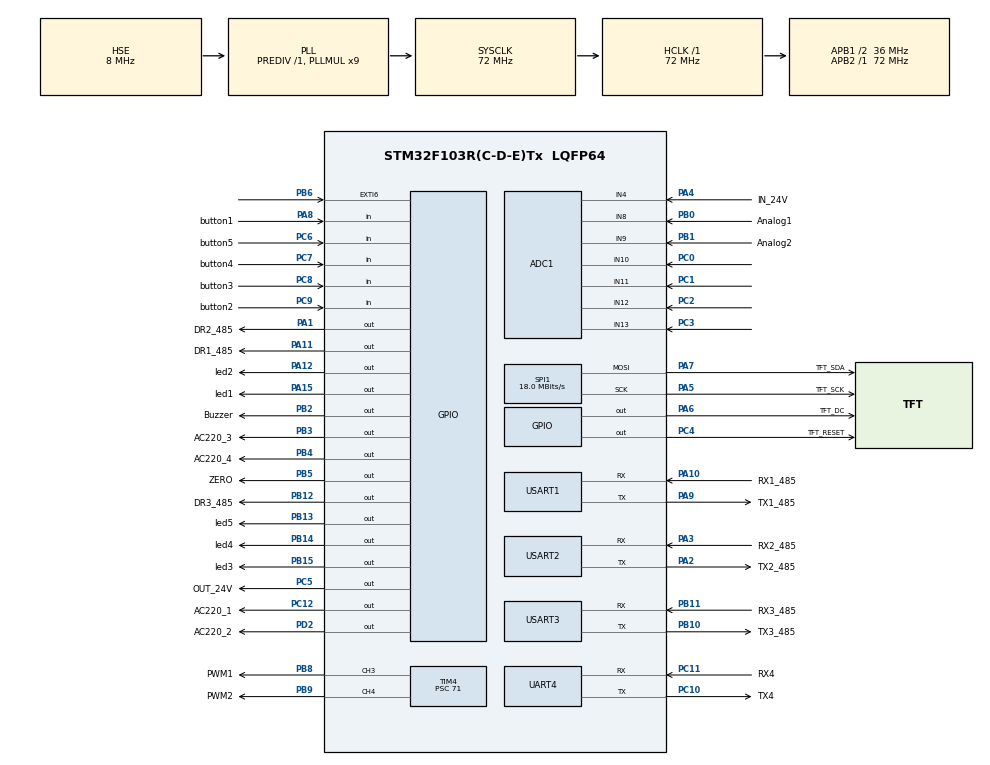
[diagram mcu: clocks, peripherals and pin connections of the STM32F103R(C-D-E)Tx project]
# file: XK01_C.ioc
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ADC1.Channel-0\#ChannelRegularConversion=ADC_CHANNEL_9
ADC1.Channel-1\#ChannelRegularConversion=ADC_CHANNEL_4
ADC1.Channel-2\#ChannelRegularConversion=ADC_CHANNEL_4
ADC1.Channel-3\#ChannelRegularConversion=ADC_CHANNEL_4
ADC1.Channel-4\#ChannelRegularConversion=ADC_CHANNEL_4
ADC1.Channel-5\#ChannelRegularConversion=ADC_CHANNEL_4
ADC1.Channel-6\#ChannelRegularConversion=ADC_CHANNEL_4
ADC1.ContinuousConvMode=DISABLE
ADC1.DiscontinuousConvMode=ENABLE
ADC1.NbrOfConversion=7
ADC1.NbrOfConversionFlag=1
ADC1.Rank-0\#ChannelRegularConversion=1
ADC1.Rank-1\#ChannelRegularConversion=2
ADC1.Rank-2\#ChannelRegularConversion=3
ADC1.Rank-3\#ChannelRegularConversion=4
ADC1.Rank-4\#ChannelRegularConversion=5
ADC1.Rank-5\#ChannelRegularConversion=6
ADC1.Rank-6\#ChannelRegularConversion=7
ADC1.SamplingTime-0\#ChannelRegularConversion=ADC_SAMPLETIME_1CYCLE_5
ADC1.SamplingTime-1\#ChannelRegularConversion=ADC_SAMPLETIME_1CYCLE_5
ADC1.SamplingTime-2\#ChannelRegularConversion=ADC_SAMPLETIME_1CYCLE_5
ADC1.SamplingTime-3\#ChannelRegularConversion=ADC_SAMPLETIME_1CYCLE_5
ADC1.SamplingTime-4\#ChannelRegularConversion=ADC_SAMPLETIME_1CYCLE_5
ADC1.SamplingTime-5\#ChannelRegularConversion=ADC_SAMPLETIME_1CYCLE_5
ADC1.SamplingTime-6\#ChannelRegularConversion=ADC_SAMPLETIME_1CYCLE_5
ADC1.master=1
Dma.Request0=SPI1_TX
Dma.SPI1_TX.0.Direction=DMA_MEMORY_TO_PERIPH
Dma.SPI1_TX.0.Instance=DMA1_Channel3
Dma.SPI1_TX.0.MemDataAlignment=DMA_MDATAALIGN_BYTE
Dma.SPI1_TX.0.MemInc=DMA_MINC_ENABLE
Dma.SPI1_TX.0.Mode=DMA_NORMAL
Dma.SPI1_TX.0.PeriphDataAlignment=DMA_PDATAALIGN_BYTE
Dma.SPI1_TX.0.PeriphInc=DMA_PINC_DISABLE
Dma.SPI1_TX.0.Priority=DMA_PRIORITY_LOW
Mcu.Family=STM32F1
Mcu.Name=STM32F103R(C-D-E)Tx
Mcu.Package=LQFP64
NVIC.ADC1_2_IRQn=true\:0\:0\:false\:false\:true\:true\:true\:true
NVIC.DMA1_Channel3_IRQn=true\:0\:0\:false\:false\:true\:false\:true\:true
NVIC.EXTI9_5_IRQn=true\:0\:0\:false\:false\:true\:true\:true\:true
NVIC.PriorityGroup=NVIC_PRIORITYGROUP_4
NVIC.SPI1_IRQn=true\:0\:0\:false\:false\:true\:true\:true\:true
NVIC.TIM5_IRQn=true\:0\:0\:false\:false\:true\:true\:true\:true
NVIC.TIM6_IRQn=true\:0\:0\:false\:false\:true\:true\:true\:true
NVIC.TIM7_IRQn=true\:0\:0\:false\:false\:true\:true\:true\:true
NVIC.UART4_IRQn=true\:0\:0\:false\:false\:true\:true\:true\:true
NVIC.USART1_IRQn=true\:0\:0\:false\:false\:true\:true\:true\:true
NVIC.USART2_IRQn=true\:0\:0\:false\:false\:true\:true\:true\:true
NVIC.USART3_IRQn=true\:0\:0\:false\:false\:true\:true\:true\:true
PA1.GPIO_Label=DR2_485
PA1.Signal=GPIO_Output
PA10.GPIO_Label=RX1_485
PA10.Mode=Asynchronous
PA10.Signal=USART1_RX
PA11.GPIO_Label=DR1_485
PA11.Signal=GPIO_Output
PA12.GPIO_Label=led2
PA12.Signal=GPIO_Output
PA13.Mode=Serial_Wire
PA13.Signal=SYS_JTMS-SWDIO
PA14.Mode=Serial_Wire
PA14.Signal=SYS_JTCK-SWCLK
PA15.GPIO_Label=led1
PA15.Signal=GPIO_Output
PA2.GPIO_Label=TX2_485
PA2.Mode=Asynchronous
PA2.Signal=USART2_TX
PA3.GPIO_Label=RX2_485
PA3.Mode=Asynchronous
PA3.Signal=USART2_RX
PA4.GPIO_Label=IN_24V
PA4.Signal=ADCx_IN4
PA5.GPIO_Label=TFT_SCK
PA5.Mode=TX_Only_Simplex_Unidirect_Master
PA5.Signal=SPI1_SCK
PA6.GPIO_Label=TFT_DC
PA6.Signal=GPIO_Output
PA7.GPIO_Label=TFT_SDA
PA7.Mode=TX_Only_Simplex_Unidirect_Master
PA7.Signal=SPI1_MOSI
PA8.GPIO_Label=button1
PA8.Signal=GPIO_Input
PA9.GPIO_Label=TX1_485
PA9.Mode=Asynchronous
PA9.Signal=USART1_TX
PB0.GPIO_Label=Analog1
PB0.Signal=ADCx_IN8
PB1.GPIO_Label=Analog2
PB1.Signal=ADCx_IN9
PB10.GPIO_Label=TX3_485
PB10.Mode=Asynchronous
PB10.Signal=USART3_TX
PB11.GPIO_Label=RX3_485
PB11.Mode=Asynchronous
PB11.Signal=USART3_RX
PB12.GPIO_Label=DR3_485
PB12.Signal=GPIO_Output
PB13.GPIO_Label=led5
PB13.Signal=GPIO_Output
PB14.GPIO_Label=led4
PB14.Signal=GPIO_Output
PB15.GPIO_Label=led3
PB15.Signal=GPIO_Output
PB2.GPIO_Label=Buzzer
PB2.Signal=GPIO_Output
PB3.GPIO_Label=AC220_3
PB3.Signal=GPIO_Output
PB4.GPIO_Label=AC220_4
PB4.Signal=GPIO_Output
PB5.GPIO_Label=ZERO
PB5.Signal=GPIO_Output
PB6.Signal=GPXTI6
PB8.GPIO_Label=PWM1
PB8.Signal=S_TIM4_CH3
PB9.GPIO_Label=PWM2
PB9.Signal=S_TIM4_CH4
PC0.Signal=ADCx_IN10
PC1.Signal=ADCx_IN11
PC10.GPIO_Label=TX4
PC10.Mode=Asynchronous
PC10.Signal=UART4_TX
PC11.GPIO_Label=RX4
PC11.Mode=Asynchronous
PC11.Signal=UART4_RX
PC12.GPIO_Label=AC220_1
PC12.Signal=GPIO_Output
PC14-OSC32_IN.Mode=LSE-External-Oscillator
PC14-OSC32_IN.Signal=RCC_OSC32_IN
PC15-OSC32_OUT.Mode=LSE-External-Oscillator
PC15-OSC32_OUT.Signal=RCC_OSC32_OUT
PC2.Signal=ADCx_IN12
PC3.Signal=ADCx_IN13
PC4.GPIO_Label=TFT_RESET
PC4.Signal=GPIO_Output
PC5.GPIO_Label=OUT_24V
PC5.Signal=GPIO_Output
PC6.GPIO_Label=button5
PC6.Signal=GPIO_Input
PC7.GPIO_Label=button4
PC7.Signal=GPIO_Input
PC8.GPIO_Label=button3
PC8.Signal=GPIO_Input
PC9.GPIO_Label=button2
PC9.Signal=GPIO_Input
PD0-OSC_IN.Mode=HSE-External-Oscillator
PD0-OSC_IN.Signal=RCC_OSC_IN
PD1-OSC_OUT.Mode=HSE-External-Oscillator
PD1-OSC_OUT.Signal=RCC_OSC_OUT
PD2.GPIO_Label=AC220_2
PD2.Signal=GPIO_Output
ProjectManager.HeapSize=0x200
ProjectManager.StackSize=0x400
ProjectManager.TargetToolchain=MDK-ARM V5.32
RCC.ADCPresc=RCC_ADCPCLK2_DIV6
RCC.AHBFreq_Value=72000000
RCC.APB1CLKDivider=RCC_HCLK_DIV2
RCC.APB1Freq_Value=36000000
RCC.APB1TimFreq_Value=72000000
RCC.APB2Freq_Value=72000000
RCC.APB2TimFreq_Value=72000000
RCC.HCLKFreq_Value=72000000
RCC.PLLMUL=RCC_PLL_MUL9
RCC.PLLSourceVirtual=RCC_PLLSOURCE_HSE
RCC.SYSCLKFreq_VALUE=72000000
RCC.SYSCLKSource=RCC_SYSCLKSOURCE_PLLCLK
RCC.USBFreq_Value=72000000
SH.ADCx_IN10.0=ADC1_IN10,IN10
SH.ADCx_IN11.0=ADC1_IN11,IN11
SH.ADCx_IN12.0=ADC1_IN12,IN12
SH.ADCx_IN13.0=ADC1_IN13,IN13
SH.ADCx_IN4.0=ADC1_IN4,IN4
SH.ADCx_IN8.0=ADC1_IN8,IN8
SH.ADCx_IN9.0=ADC1_IN9,IN9
SH.S_TIM4_CH3.0=TIM4_CH3,PWM Generation3 CH3
SH.S_TIM4_CH4.0=TIM4_CH4,PWM Generation4 CH4
SPI1.BaudRatePrescaler=SPI_BAUDRATEPRESCALER_4
SPI1.CLKPolarity=SPI_POLARITY_HIGH
SPI1.CalculateBaudRate=18.0 MBits/s
SPI1.Direction=SPI_DIRECTION_2LINES
SPI1.Mode=SPI_MODE_MASTER
SPI1.VirtualType=VM_MASTER
TIM4.Channel-PWM\ Generation3\ CH3=TIM_CHANNEL_3
TIM4.Channel-PWM\ Generation4\ CH4=TIM_CHANNEL_4
TIM4.OC3Preload_PWM=DISABLE
TIM4.OC4Preload_PWM=DISABLE
TIM4.Period=1000-1
TIM4.Prescaler=71
TIM5.Period=10000-1
TIM5.Prescaler=72-1
TIM6.Period=1000-1
TIM6.Prescaler=72-1
TIM7.Period=10-1
TIM7.Prescaler=72-1
UART4.VirtualMode=Asynchronous
USART1.VirtualMode=VM_ASYNC
USART2.VirtualMode=VM_ASYNC
USART3.VirtualMode=VM_ASYNC
VP_TIM4_VS_ClockSourceINT.Mode=Internal
VP_TIM5_VS_ClockSourceINT.Mode=Internal
VP_TIM6_VS_ClockSourceINT.Mode=Enable_Timer
VP_TIM7_VS_ClockSourceINT.Mode=Enable_Timer
board=custom

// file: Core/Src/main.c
/* USER CODE BEGIN Header */
/**
  ******************************************************************************
  * @file           : main.c
  * @brief          : Main program body
  ******************************************************************************
  * @attention
  *
  * Copyright (c) 2025 STMicroelectronics.
  * All rights reserved.
  *
  * This software is licensed under terms that can be found in the LICENSE file
  * in the root directory of this software component.
  * If no LICENSE file comes with this software, it is provided AS-IS.
  *
  ******************************************************************************
  */
/* USER CODE END Header */
#include "main.h"
#include "adc.h"
#include "dma.h"
#include "spi.h"
#include "tim.h"
#include "usart.h"
#include "gpio.h"

/* USER CODE BEGIN Includes */
#include "temp.h"
#include "PWM_CRL.h"
#include "ST7789V2.h"
#include "modbus_rtu.h"
#include "POWER_CRL.h"
#include "KEY_CRL.h"
#include "GUI.h"
#include "Communication.h"

#include <stdio.h>
/* USER CODE END Includes */

void SystemClock_Config(void);

int main(void)
{

	/* MCU Configuration--------------------------------------------------------*/

	/* Reset of all peripherals, Initializes the Flash interface and the Systick. */
	HAL_Init();

	/* Configure the system clock */
	SystemClock_Config();

	/* Initialize all configured peripherals */
	MX_GPIO_Init();
	MX_DMA_Init();
	MX_ADC1_Init();
	MX_SPI1_Init();
	MX_TIM4_Init();
	MX_TIM5_Init();
	MX_TIM6_Init();
	MX_TIM7_Init();
	MX_UART4_Init();
	MX_USART1_UART_Init();
	MX_USART2_UART_Init();
	MX_USART3_UART_Init();
	/* USER CODE BEGIN 2 */
	HAL_ADCEx_Calibration_Start(&hadc1);      //ADC校准
	HAL_TIM_Base_Start_IT(&htim5);			      //TIM5使能
	HAL_TIM_Base_Start_IT(&htim6);			      //TIM6使能
	HAL_TIM_Base_Start_IT(&htim7);			      //TIM7使能

	rs485_init();
	HAL_UART_Receive_IT(&huart1,&rs485.rcvbuf[rs485.recount],1);

	LCD_Init();
	gui_init();
	gui_icon_init();
	printf("========= code start ========= \r\n");
	while (!gui_info.connect_on_flag)
	{
		get_slave_statu_03();
		Modbus_Event();
		connect_dis();
		channel_switch();
		delay_ms(50);
	}
	refresh_icon();
	/* USER CODE END 2 */

	/* Infinite loop */
	while (1)
	{
		key_scan();
		icon_beat(gui_beat.beat_select,gui_beat.beat_switch);
		Modbus_Event();
		slave_statu_update();
		//printf("The vlaue of gui_beat.beat_start_flag is %d \r\n",gui_beat.beat_start_flag);
	}
}

void SystemClock_Config(void)
{
	RCC_OscInitTypeDef RCC_OscInitStruct = {0};
	RCC_ClkInitTypeDef RCC_ClkInitStruct = {0};
	RCC_PeriphCLKInitTypeDef PeriphClkInit = {0};

	/** Initializes the RCC Oscillators according to the specified parameters
	 * in the RCC_OscInitTypeDef structure.
	 */
	RCC_OscInitStruct.OscillatorType = RCC_OSCILLATORTYPE_HSE;
	RCC_OscInitStruct.HSEState = RCC_HSE_ON;
	RCC_OscInitStruct.HSEPredivValue = RCC_HSE_PREDIV_DIV1;
	RCC_OscInitStruct.HSIState = RCC_HSI_ON;
	RCC_OscInitStruct.PLL.PLLState = RCC_PLL_ON;
	RCC_OscInitStruct.PLL.PLLSource = RCC_PLLSOURCE_HSE;
	RCC_OscInitStruct.PLL.PLLMUL = RCC_PLL_MUL9;
	if (HAL_RCC_OscConfig(&RCC_OscInitStruct) != HAL_OK)
	{
		Error_Handler();
	}

	/** Initializes the CPU, AHB and APB buses clocks
	 */
	RCC_ClkInitStruct.ClockType = RCC_CLOCKTYPE_HCLK|RCC_CLOCKTYPE_SYSCLK
								|RCC_CLOCKTYPE_PCLK1|RCC_CLOCKTYPE_PCLK2;
	RCC_ClkInitStruct.SYSCLKSource = RCC_SYSCLKSOURCE_PLLCLK;
	RCC_ClkInitStruct.AHBCLKDivider = RCC_SYSCLK_DIV1;
	RCC_ClkInitStruct.APB1CLKDivider = RCC_HCLK_DIV2;
	RCC_ClkInitStruct.APB2CLKDivider = RCC_HCLK_DIV1;

	if (HAL_RCC_ClockConfig(&RCC_ClkInitStruct, FLASH_LATENCY_2) != HAL_OK)
	{
		Error_Handler();
	}
	PeriphClkInit.PeriphClockSelection = RCC_PERIPHCLK_ADC;
	PeriphClkInit.AdcClockSelection = RCC_ADCPCLK2_DIV6;
	if (HAL_RCCEx_PeriphCLKConfig(&PeriphClkInit) != HAL_OK)
	{
		Error_Handler();
	}
}

/* USER CODE BEGIN 4 */
/*
  * @brief 重定向c库函数printf到USARTx
  * @retval None
*/
int fputc(int ch, FILE *f)
{
    HAL_UART_Transmit(&huart4, (uint8_t *)&ch, 1, 0xffff);
    return ch;
}

/**
  * @brief 重定向c库函数getchar,scanf到USARTx
  * @retval None
  */
int fgetc(FILE *f)
{
    uint8_t ch = 0;
    HAL_UART_Receive(&huart4, &ch, 1, 0xffff);
    return ch;
}
/* USER CODE END 4 */

void Error_Handler(void)
{
	__disable_irq();
	while (1)
	{
	}
}
